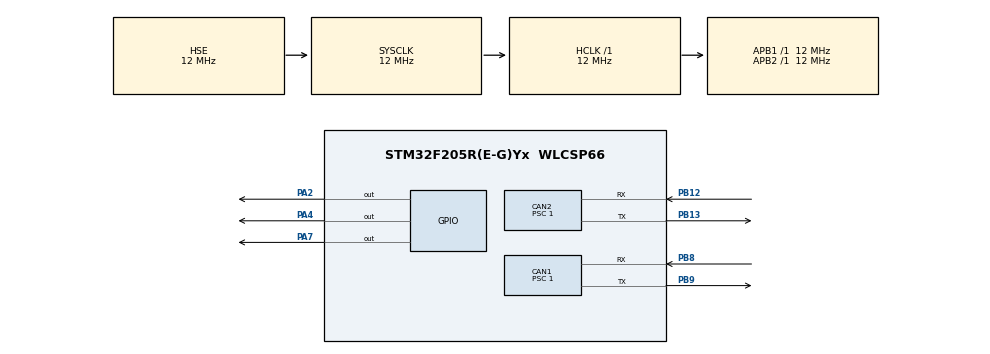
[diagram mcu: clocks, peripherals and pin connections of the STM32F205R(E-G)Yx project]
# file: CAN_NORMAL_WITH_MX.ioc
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CAN1.BS1=CAN_BS1_10TQ
CAN1.CalculateBaudRate=1000000
CAN1.CalculateTimeBit=1000
CAN1.CalculateTimeQuantum=83.33333333333333
CAN1.NART=ENABLE
CAN1.Prescaler=1
CAN2.BS1=CAN_BS1_10TQ
CAN2.CalculateBaudRate=1000000
CAN2.CalculateTimeBit=1000
CAN2.CalculateTimeQuantum=83.33333333333333
CAN2.Prescaler=1
Mcu.Family=STM32F2
Mcu.Name=STM32F205R(E-G)Yx
Mcu.Package=WLCSP66
NVIC.PriorityGroup=NVIC_PRIORITYGROUP_4
PA13.Mode=Serial_Wire
PA13.Signal=SYS_JTMS-SWDIO
PA14.Mode=Serial_Wire
PA14.Signal=SYS_JTCK-SWCLK
PA2.Signal=GPIO_Output
PA4.Signal=GPIO_Output
PA7.Signal=GPIO_Output
PB12.Mode=CAN_Activate
PB12.Signal=CAN2_RX
PB13.Mode=CAN_Activate
PB13.Signal=CAN2_TX
PB8.Mode=CAN_Activate
PB8.Signal=CAN1_RX
PB9.Mode=CAN_Activate
PB9.Signal=CAN1_TX
PH0-OSC_IN.Mode=HSE-External-Oscillator
PH0-OSC_IN.Signal=RCC_OSC_IN
PH1-OSC_OUT.Mode=HSE-External-Oscillator
PH1-OSC_OUT.Signal=RCC_OSC_OUT
ProjectManager.HeapSize=0x200
ProjectManager.StackSize=0x400
ProjectManager.TargetToolchain=STM32CubeIDE
RCC.48MHZClocksFreq_Value=36000000
RCC.AHBFreq_Value=12000000
RCC.APB1Freq_Value=12000000
RCC.APB1TimFreq_Value=12000000
RCC.APB2Freq_Value=12000000
RCC.APB2TimFreq_Value=12000000
RCC.CortexFreq_Value=12000000
RCC.HCLKFreq_Value=12000000
RCC.HSE_VALUE=12000000
RCC.HSI_VALUE=16000000
RCC.LSE_VALUE=32768
RCC.PLLSourceVirtual=RCC_PLLSOURCE_HSE
RCC.SYSCLKFreq_VALUE=12000000
RCC.SYSCLKSource=RCC_SYSCLKSOURCE_HSE
RCC.VCOOutputFreq_Value=144000000
TIM6.Period=4999
TIM6.Prescaler=11999
VP_TIM6_VS_ClockSourceINT.Mode=Enable_Timer
board=custom

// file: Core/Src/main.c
/* USER CODE BEGIN Header */
/**
  ******************************************************************************
  * @file           : main.c
  * @brief          : Main program body
  ******************************************************************************
  * @attention
  *
  * Copyright (c) 2023 STMicroelectronics.
  * All rights reserved.
  *
  * This software is licensed under terms that can be found in the LICENSE file
  * in the root directory of this software component.
  * If no LICENSE file comes with this software, it is provided AS-IS.
  *
  ******************************************************************************
  */
/* USER CODE END Header */
#include "main.h"

/* USER CODE BEGIN Includes */
#include "CAN_Config.h"
/* USER CODE END Includes */

CAN_HandleTypeDef hcan1;
CAN_HandleTypeDef hcan2;

TIM_HandleTypeDef htim6;

/* USER CODE BEGIN PV */
uint8_t message_can2_received = 0;
uint8_t message_can1_received = 0;

/* USER CODE END PV */

void SystemClock_Config(void);
static void MX_GPIO_Init(void);
static void MX_CAN1_Init(void);
static void MX_CAN2_Init(void);
static void MX_TIM6_Init(void);

int main(void)
{

  /* MCU Configuration--------------------------------------------------------*/

  /* Reset of all peripherals, Initializes the Flash interface and the Systick. */
  HAL_Init();

  /* Configure the system clock */
  SystemClock_Config();

  /* Initialize all configured peripherals */
  MX_GPIO_Init();
  MX_CAN1_Init();
  MX_CAN2_Init();
  MX_TIM6_Init();
  /* USER CODE BEGIN 2 */
  CAN1_Filter_Config();
  CAN2_Filter_Config();

  CAN1_IRQ_Start();
  CAN2_IRQ_Start();

//  CAN1_Tx();
  HAL_TIM_Base_Start_IT(&htim6);

  /* USER CODE END 2 */

  /* Infinite loop */
  /* USER CODE BEGIN WHILE */

  while (1)
  {

	 if(message_can2_received == 1)
	 {
		 HAL_GPIO_WritePin(GPIOA, GPIO_PIN_4|GPIO_PIN_2|GPIO_PIN_7, 0);
		 message_can2_received = 0;
		 for(int i=0; i<10; i++)
		 {
			 HAL_GPIO_TogglePin(GPIOA, GPIO_PIN_2|GPIO_PIN_4);
			 HAL_Delay(100);
		 }
	 }
	 else if(message_can1_received == 1)
	 {

		 HAL_GPIO_WritePin(GPIOA, GPIO_PIN_4|GPIO_PIN_2|GPIO_PIN_7, 0);
		 message_can1_received = 0;
		 for(int i=0; i<10; i++)
		 {
			 HAL_GPIO_TogglePin(GPIOA, GPIO_PIN_4|GPIO_PIN_2|GPIO_PIN_7);
			 HAL_Delay(100);
		 }
	 }

    /* USER CODE END WHILE */

  }
}

void SystemClock_Config(void)
{
  RCC_OscInitTypeDef RCC_OscInitStruct = {0};
  RCC_ClkInitTypeDef RCC_ClkInitStruct = {0};

  /** Initializes the RCC Oscillators according to the specified parameters
  * in the RCC_OscInitTypeDef structure.
  */
  RCC_OscInitStruct.OscillatorType = RCC_OSCILLATORTYPE_HSE;
  RCC_OscInitStruct.HSEState = RCC_HSE_ON;
  RCC_OscInitStruct.PLL.PLLState = RCC_PLL_NONE;
  if (HAL_RCC_OscConfig(&RCC_OscInitStruct) != HAL_OK)
  {
    Error_Handler();
  }

  /** Initializes the CPU, AHB and APB buses clocks
  */
  RCC_ClkInitStruct.ClockType = RCC_CLOCKTYPE_HCLK|RCC_CLOCKTYPE_SYSCLK
                              |RCC_CLOCKTYPE_PCLK1|RCC_CLOCKTYPE_PCLK2;
  RCC_ClkInitStruct.SYSCLKSource = RCC_SYSCLKSOURCE_HSE;
  RCC_ClkInitStruct.AHBCLKDivider = RCC_SYSCLK_DIV1;
  RCC_ClkInitStruct.APB1CLKDivider = RCC_HCLK_DIV1;
  RCC_ClkInitStruct.APB2CLKDivider = RCC_HCLK_DIV1;

  if (HAL_RCC_ClockConfig(&RCC_ClkInitStruct, FLASH_LATENCY_0) != HAL_OK)
  {
    Error_Handler();
  }
}

static void MX_CAN1_Init(void)
{

  hcan1.Instance = CAN1;
  hcan1.Init.Prescaler = 1;
  hcan1.Init.Mode = CAN_MODE_NORMAL;
  hcan1.Init.SyncJumpWidth = CAN_SJW_1TQ;
  hcan1.Init.TimeSeg1 = CAN_BS1_10TQ;
  hcan1.Init.TimeSeg2 = CAN_BS2_1TQ;
  hcan1.Init.TimeTriggeredMode = DISABLE;
  hcan1.Init.AutoBusOff = DISABLE;
  hcan1.Init.AutoWakeUp = DISABLE;
  hcan1.Init.AutoRetransmission = ENABLE;
  hcan1.Init.ReceiveFifoLocked = DISABLE;
  hcan1.Init.TransmitFifoPriority = DISABLE;
  if (HAL_CAN_Init(&hcan1) != HAL_OK)
  {
    Error_Handler();
  }

}

static void MX_CAN2_Init(void)
{

  hcan2.Instance = CAN2;
  hcan2.Init.Prescaler = 1;
  hcan2.Init.Mode = CAN_MODE_NORMAL;
  hcan2.Init.SyncJumpWidth = CAN_SJW_1TQ;
  hcan2.Init.TimeSeg1 = CAN_BS1_10TQ;
  hcan2.Init.TimeSeg2 = CAN_BS2_1TQ;
  hcan2.Init.TimeTriggeredMode = DISABLE;
  hcan2.Init.AutoBusOff = DISABLE;
  hcan2.Init.AutoWakeUp = DISABLE;
  hcan2.Init.AutoRetransmission = DISABLE;
  hcan2.Init.ReceiveFifoLocked = DISABLE;
  hcan2.Init.TransmitFifoPriority = DISABLE;
  if (HAL_CAN_Init(&hcan2) != HAL_OK)
  {
    Error_Handler();
  }

}

static void MX_TIM6_Init(void)
{

  TIM_MasterConfigTypeDef sMasterConfig = {0};

  htim6.Instance = TIM6;
  htim6.Init.Prescaler = 11999;
  htim6.Init.CounterMode = TIM_COUNTERMODE_UP;
  htim6.Init.Period = 4999;
  htim6.Init.AutoReloadPreload = TIM_AUTORELOAD_PRELOAD_DISABLE;
  if (HAL_TIM_Base_Init(&htim6) != HAL_OK)
  {
    Error_Handler();
  }
  sMasterConfig.MasterOutputTrigger = TIM_TRGO_RESET;
  sMasterConfig.MasterSlaveMode = TIM_MASTERSLAVEMODE_DISABLE;
  if (HAL_TIMEx_MasterConfigSynchronization(&htim6, &sMasterConfig) != HAL_OK)
  {
    Error_Handler();
  }

}

static void MX_GPIO_Init(void)
{
  GPIO_InitTypeDef GPIO_InitStruct = {0};

  /* GPIO Ports Clock Enable */
  __HAL_RCC_GPIOA_CLK_ENABLE();
  __HAL_RCC_GPIOB_CLK_ENABLE();
  __HAL_RCC_GPIOH_CLK_ENABLE();

  /*Configure GPIO pin Output Level */
  HAL_GPIO_WritePin(GPIOA, GPIO_PIN_7|GPIO_PIN_4|GPIO_PIN_2, GPIO_PIN_RESET);

  /*Configure GPIO pins : PA7 PA4 PA2 */
  GPIO_InitStruct.Pin = GPIO_PIN_7|GPIO_PIN_4|GPIO_PIN_2;
  GPIO_InitStruct.Mode = GPIO_MODE_OUTPUT_PP;
  GPIO_InitStruct.Pull = GPIO_NOPULL;
  GPIO_InitStruct.Speed = GPIO_SPEED_FREQ_LOW;
  HAL_GPIO_Init(GPIOA, &GPIO_InitStruct);

}

void Error_Handler(void)
{
  /* USER CODE BEGIN Error_Handler_Debug */
  /* User can add his own implementation to report the HAL error return state */
  __disable_irq();
  while (1)
  {
//	  HAL_GPIO_TogglePin(GPIOA, GPIO_PIN_7|GPIO_PIN_4|GPIO_PIN_2);
//	  HAL_Delay(1000);
  }
  /* USER CODE END Error_Handler_Debug */
}
